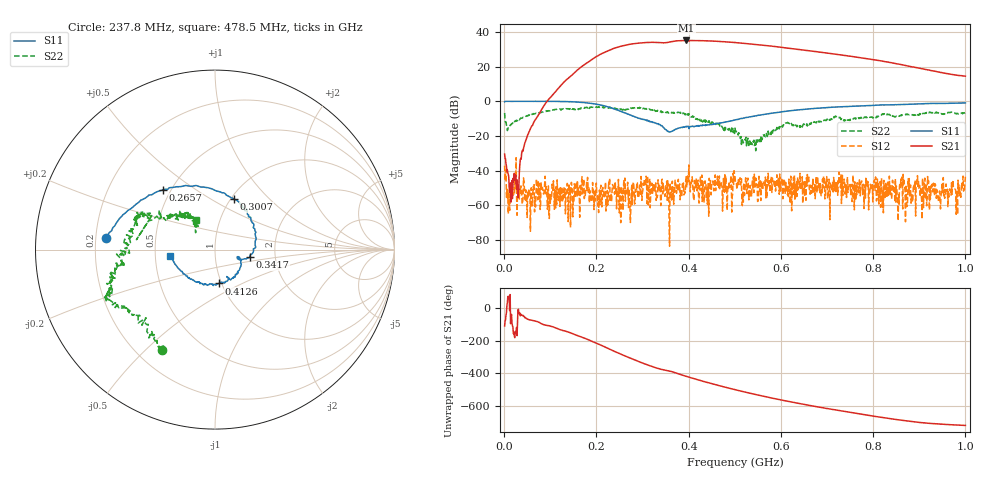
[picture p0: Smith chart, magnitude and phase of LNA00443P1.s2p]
! Created with skrf 1.9.0 (http://scikit-rf.org).
# Hz S RI R 50.0
!freq ReS11 ImS11 ReS21 ImS21 ReS12 ImS12 ReS22 ImS22
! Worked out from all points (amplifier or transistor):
!   1001 points, 1 MHz to 1 GHz, reference 50 ohm
!   highest |S21| = 35.0 dB at 394.6 MHz (marker M1)
!   |S21| within 3 dB of that: 258.8 MHz to 570.7 MHz (311.9 MHz wide, 75.2 % of centre)
!   unconditionally stable (mu >= 1): 6.507 MHz to 73.93 MHz; 308.2 MHz to 400.2 MHz; 400.9 MHz to end of sweep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
!   at 166.8 MHz: K = 0.46, MSG = 34.2 dB, |S12| = -48.7 dB
!   at 500.5 MHz: K = 1.44, MAG = 34.6 dB, |S12| = -43.2 dB
!   at 1 GHz: K = 2.55, MAG = 22.1 dB, |S12| = -43.5 dB
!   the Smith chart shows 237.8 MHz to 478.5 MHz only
!   S11 on the Smith chart (normalised r, x): 237.8 MHz: 0.24, +0.05; 265.7 MHz: 0.45, +0.37; 300.7 MHz: 1.03, +0.64; 341.7 MHz: 1.48, -0.13; 412.6 MHz: 0.97, -0.38; 478.5 MHz: 0.60, -0.05
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1000000  0.9662 -0.00279  -0.00997 -0.0285  -0.0116 0.00808  0.3586 0.2906
1.08892e8  0.5285 -0.8435  -0.8132 -1.541  0.00067 -0.000385  0.4231 -0.3789
1.67833e8  -0.2201 -0.9048  -9.939 -0.5614  0.00465 0.00114  0.0485 -0.6368
2.08792e8  -0.6598 -0.4207  -15.76 16.18  -0.00154 -0.00243  -0.2019 -0.6499
2.37763e8  -0.6049 0.0659  -4.093 33.17  0.00303 0.000718  -0.2948 -0.5603
2.65735e8  -0.29 0.3326  19.46 36.98  -0.0018 -0.00146  -0.4626 -0.3647
3.007e8  0.1046 0.2834  44.76 18.62  -0.00263 0.000938  -0.576 -0.2011
3.18682e8  0.2064 0.1505  49.87 3.707  -0.00257 9.02e-05  -0.5586 -0.1193
3.34666e8  0.2234 0.0084  48.41 -9.443  -0.00322 0.00254  -0.5164 -0.0289
3.41659e8  0.1947 -0.0424  46.74 -13.49  -0.00158 0.00496  -0.4759 -0.02
3.68632e8  0.1407 -0.0514  44.79 -30.12  -0.00135 0.00306  -0.4409 0.1621
3.94606e8  0.1121 -0.1536  29.82 -48.02  -0.00193 0.00643  -0.4205 0.1993
4.12588e8  0.0226 -0.1887  15.9 -53.91  0.00431 0.003  -0.2831 0.1748
4.45555e8  -0.1372 -0.1656  -9.272 -53.78  6.29e-05 0.00519  -0.1669 0.1733
4.78522e8  -0.2494 -0.0375  -29.57 -42.53  0.00553 0.00529  -0.104 0.1674
5.005e8  -0.2785 0.0734  -38.25 -31.66  -0.00516 0.00467  -0.0949 0.1405
5.4046e8  -0.2286 0.2895  -42.82 -9.794  0.00496 -0.00442  -0.0635 0.0218
5.88412e8  -0.0524 0.4672  -35.97 10.96  0.00259 0.000194  -0.1218 -0.077
6.67333e8  0.3214 0.523  -13.87 24.01  -0.00256 -0.00277  -0.245 -0.0485
7.53247e8  0.6222 0.3612  3.966 19.16  -0.00312 -0.00183  -0.3058 0.0268
8.34166e8  0.7787 0.1348  9.767 9.015  3.23e-05 0.00274  -0.4208 0.0538
1e9  0.8078 -0.3909  5.299 -0.0254  0.00318 -0.00589  -0.2609 0.3903
